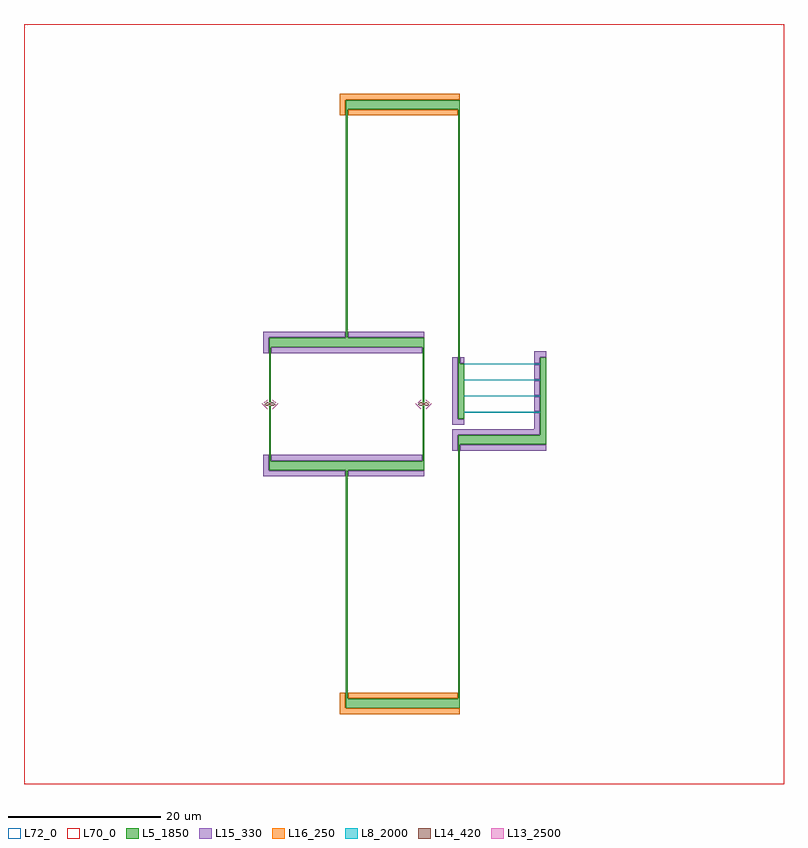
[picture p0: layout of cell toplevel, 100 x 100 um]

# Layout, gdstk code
from math import pi, radians
import gdstk
lib = gdstk.Library(unit=1e-6, precision=1e-09)
def R(c, l, rs):  # rectangles x0, y0, x1, y1
    for r in rs: c.add(gdstk.rectangle(r[:2], r[2:], *l))
def A(c, l, x, y, w, h, nx, ny, dx, dy):  # array of equal rectangles
    R(c, l, [(x+i*dx, y+j*dy, x+i*dx+w, y+j*dy+h) for i in range(nx) for j in range(ny)])
def P(c, l, *ps):  # polygons
    for p in ps: c.add(gdstk.Polygon(p, *l))
L5_1850 = (5, 1850)
L8_2000 = (8, 2000)
L13_2500 = (13, 2500)
L14_420 = (14, 420)
L15_330 = (15, 330)
L16_250 = (16, 250)
L70_0 = (70, 0)
L72_0 = (72, 0)

rectangle013 = lib.new_cell('rectangle013')
R(rectangle013, L5_1850, [(0,0,0.2,1.8)])

jj_top = lib.new_cell('JJ Top')
jj_top.add(gdstk.Reference(rectangle013, (-0.1,0.2)))

rectangle014 = lib.new_cell('rectangle014')
R(rectangle014, L5_1850, [(0,0,0.2,1.8)])

jj_bot = lib.new_cell('JJ Bot')
jj_bot.add(gdstk.Reference(rectangle014, (-0.1,-2)))

rectangle015 = lib.new_cell('rectangle015')
R(rectangle015, L5_1850, [(0,0,0.22,5.5)])

top_arm = lib.new_cell('Top Arm')
top_arm.add(gdstk.Reference(rectangle015, (-0.11,2)))

rectangle016 = lib.new_cell('rectangle016')
R(rectangle016, L5_1850, [(0,0,0.22,5.5)])

bot_arm = lib.new_cell('Bot Arm')
bot_arm.add(gdstk.Reference(rectangle016, (-0.11,-7.5)))

junction = lib.new_cell('Junction')
junction.add(gdstk.Reference(jj_top, (0,0)))
junction.add(gdstk.Reference(jj_bot, (0,0)))
junction.add(gdstk.Reference(top_arm, (0,0)))
junction.add(gdstk.Reference(bot_arm, (0,0)))

rectangle017 = lib.new_cell('rectangle017')
P(rectangle017, L13_2500, [(0.376,0.563),(0.8,0.139),(0.736,0.075),(0.312,0.499)])

rectangle018 = lib.new_cell('rectangle018')
P(rectangle018, L13_2500, [(0.376,0.663),(1.1,-0.061),(1.036,-0.125),(0.312,0.599)])

boolean019 = lib.new_cell('boolean019')
P(boolean019, L14_420, [(-0.2,-0.125),(0.2,-0.125),(0.2,-0.25),(0.52,-0.25),(0.7,-0.07),(0.7,-0.03),(0.42,0.25),(0.2,0.25),(0.2,0.125),(-0.2,0.125),(-0.2,0.25),(-0.42,0.25),(-0.7,-0.03),(-0.7,-0.07),(-0.52,-0.25),(-0.2,-0.25)])

h_undercut_with_asymmetr = lib.new_cell('H undercut with asymmetric s')
h_undercut_with_asymmetr.add(gdstk.Reference(rectangle017, (0,0)))
h_undercut_with_asymmetr.add(gdstk.Reference(rectangle018, (0,0), x_reflection=True))
h_undercut_with_asymmetr.add(gdstk.Reference(rectangle017, (0,0), rotation=pi, x_reflection=True))
h_undercut_with_asymmetr.add(gdstk.Reference(rectangle018, (0,0), rotation=pi))
h_undercut_with_asymmetr.add(gdstk.Reference(boolean019, (0,0)))

josephson_junction = lib.new_cell('Josephson Junction')
josephson_junction.add(gdstk.Reference(junction, (0,0)))
josephson_junction.add(gdstk.Reference(h_undercut_with_asymmetr, (0,0)))

rectangle022 = lib.new_cell('rectangle022')
R(rectangle022, L5_1850, [(0,0,0.2,1.8)])

jj_top021 = lib.new_cell('JJ Top021')
jj_top021.add(gdstk.Reference(rectangle022, (-0.1,0.2)))

rectangle024 = lib.new_cell('rectangle024')
R(rectangle024, L5_1850, [(0,0,0.2,1.8)])

jj_bot023 = lib.new_cell('JJ Bot023')
jj_bot023.add(gdstk.Reference(rectangle024, (-0.1,-2)))

rectangle026 = lib.new_cell('rectangle026')
R(rectangle026, L5_1850, [(0,0,0.22,5.5)])

top_arm025 = lib.new_cell('Top Arm025')
top_arm025.add(gdstk.Reference(rectangle026, (-0.11,2)))

rectangle028 = lib.new_cell('rectangle028')
R(rectangle028, L5_1850, [(0,0,0.22,5.5)])

bot_arm027 = lib.new_cell('Bot Arm027')
bot_arm027.add(gdstk.Reference(rectangle028, (-0.11,-7.5)))

junction029 = lib.new_cell('Junction029')
junction029.add(gdstk.Reference(jj_top021, (0,0)))
junction029.add(gdstk.Reference(jj_bot023, (0,0)))
junction029.add(gdstk.Reference(top_arm025, (0,0)))
junction029.add(gdstk.Reference(bot_arm027, (0,0)))

rectangle031 = lib.new_cell('rectangle031')
P(rectangle031, L13_2500, [(0.376,0.563),(0.8,0.139),(0.736,0.075),(0.312,0.499)])

rectangle032 = lib.new_cell('rectangle032')
P(rectangle032, L13_2500, [(0.376,0.663),(1.1,-0.061),(1.036,-0.125),(0.312,0.599)])

boolean033 = lib.new_cell('boolean033')
P(boolean033, L14_420, [(-0.2,-0.125),(0.2,-0.125),(0.2,-0.25),(0.52,-0.25),(0.7,-0.07),(0.7,-0.03),(0.42,0.25),(0.2,0.25),(0.2,0.125),(-0.2,0.125),(-0.2,0.25),(-0.42,0.25),(-0.7,-0.03),(-0.7,-0.07),(-0.52,-0.25),(-0.2,-0.25)])

c_h_undercut_with_asymmetr = lib.new_cell('H undercut with asymmetric s030')
c_h_undercut_with_asymmetr.add(gdstk.Reference(rectangle031, (0,0)))
c_h_undercut_with_asymmetr.add(gdstk.Reference(rectangle032, (0,0), x_reflection=True))
c_h_undercut_with_asymmetr.add(gdstk.Reference(rectangle031, (0,0), rotation=pi, x_reflection=True))
c_h_undercut_with_asymmetr.add(gdstk.Reference(rectangle032, (0,0), rotation=pi))
c_h_undercut_with_asymmetr.add(gdstk.Reference(boolean033, (0,0)))

josephson_junction020 = lib.new_cell('Josephson Junction020')
josephson_junction020.add(gdstk.Reference(junction029, (0,0)))
josephson_junction020.add(gdstk.Reference(c_h_undercut_with_asymmetr, (0,0)))

rectangle034 = lib.new_cell('rectangle034')
R(rectangle034, L5_1850, [(0,0,20.44,1.2)])

island = lib.new_cell('Island')
island.add(gdstk.Reference(rectangle034, (0,0)))

top_island = lib.new_cell('Top island')
top_island.add(gdstk.Reference(island, (-0.11,7.5)))

rectangle036 = lib.new_cell('rectangle036')
R(rectangle036, L5_1850, [(0,0,20.44,1.2)])

island035 = lib.new_cell('Island035')
island035.add(gdstk.Reference(rectangle036, (0,0)))

bot_island = lib.new_cell('Bot island')
bot_island.add(gdstk.Reference(island035, (-0.11,-8.7)))

rectangle037 = lib.new_cell('rectangle037')
R(rectangle037, L5_1850, [(0,-30.1,0.22,0)])

connector = lib.new_cell('Connector')
connector.add(gdstk.Reference(rectangle037, (0,0)))

top_connector = lib.new_cell('Top connector')
top_connector.add(gdstk.Reference(connector, (10,38.8)))

rectangle039 = lib.new_cell('rectangle039')
R(rectangle039, L5_1850, [(0,-30.1,0.22,0)])

connector038 = lib.new_cell('Connector038')
connector038.add(gdstk.Reference(rectangle039, (0,0)))

bot_connector = lib.new_cell('Bot connector')
bot_connector.add(gdstk.Reference(connector038, (10,-38.8), x_reflection=True))

boolean042 = lib.new_cell('boolean042')
R(boolean042, L15_330, [(10.28,-9.5,20.33,-8.76), (0.17,-7.44,20.05,-6.7), (0.17,6.7,20.05,7.44), (10.28,8.76,20.33,9.5)])
P(boolean042, L15_330, [(-0.17,8.76),(9.94,8.76),(9.94,9.5),(-0.91,9.5),(-0.91,6.7),(-0.17,6.7)],
  [(9.94,-8.76),(-0.17,-8.76),(-0.17,-6.7),(-0.91,-6.7),(-0.91,-9.5),(9.94,-9.5)])

liftoff_undercut041 = lib.new_cell('Liftoff undercut041')
liftoff_undercut041.add(gdstk.Reference(boolean042, (0,0)))

liftoff_undercut040 = lib.new_cell('Liftoff undercut040')
liftoff_undercut040.add(gdstk.Reference(liftoff_undercut041, (0,0)))

squid = lib.new_cell('Squid')
squid.add(gdstk.Reference(josephson_junction, (-10.11,0)))
squid.add(gdstk.Reference(josephson_junction020, (10.11,0)))
squid.add(gdstk.Reference(top_island, (-10.11,0)))
squid.add(gdstk.Reference(bot_island, (-10.11,0)))
squid.add(gdstk.Reference(top_connector, (-10.11,0)))
squid.add(gdstk.Reference(bot_connector, (-10.11,0)))
squid.add(gdstk.Reference(liftoff_undercut040, (-10.11,0)))

rectangle046 = lib.new_cell('rectangle046')
R(rectangle046, L5_1850, [(-0.22,-33.48,0,0)])

rectangle045 = lib.new_cell('rectangle045')
R(rectangle045, L5_1850, [(-15,0,0,1.2)])

connector044 = lib.new_cell('Connector044')
connector044.add(gdstk.Reference(rectangle045, (0,0)))

boolean047 = lib.new_cell('boolean047')

boolean048 = lib.new_cell('boolean048')

connector043 = lib.new_cell('Connector043')
connector043.add(gdstk.Reference(rectangle046, (14.89,38.8)))
connector043.add(gdstk.Reference(connector044, (14.89,38.8)))
connector043.add(gdstk.Reference(boolean047, (14.89,38.8)))
connector043.add(gdstk.Reference(boolean048, (0,0)))

rectangle008 = lib.new_cell('rectangle008')
R(rectangle008, L5_1850, [(0,0,0.8,6.44)])

rectangle009 = lib.new_cell('rectangle009')
R(rectangle009, L5_1850, [(0,-0.8,0.8,0)])

arm_connector = lib.new_cell('Arm connector')
arm_connector.add(gdstk.Reference(rectangle008, (-0.8,-6.33)))
arm_connector.add(gdstk.Reference(rectangle009, (-0.8,-6.33)))

boolean010 = lib.new_cell('boolean010')
P(boolean010, L5_1850, [(11.4,0.6),(0.6,0.6),(0.6,10.04),(-0.2,10.04),(-0.2,-0.6),(11.4,-0.6)])

rectangle011 = lib.new_cell('rectangle011')
R(rectangle011, L5_1850, [(-0.2,10.04,0.6,10.84)])

right_arm_connector = lib.new_cell('Right arm connector')
right_arm_connector.add(gdstk.Reference(boolean010, (10.6,-9.93), rotation=pi, x_reflection=True))
right_arm_connector.add(gdstk.Reference(rectangle011, (10.6,-9.93), rotation=pi, x_reflection=True))

arms = lib.new_cell('Arms')
arms.add(gdstk.Reference(arm_connector, (0,0)))
arms.add(gdstk.Reference(right_arm_connector, (0,0)))

rectangle = lib.new_cell('rectangle')
R(rectangle, L8_2000, [(0,0,10,0.11)])

resistive_segment = lib.new_cell('Resistive segment')
resistive_segment.add(gdstk.Reference(rectangle, (0,0)))

rectangle003 = lib.new_cell('rectangle003')
R(rectangle003, L8_2000, [(0,0,10,0.11)])

resistive_segment002 = lib.new_cell('Resistive segment002')
resistive_segment002.add(gdstk.Reference(rectangle003, (0,-2.11)))

rectangle005 = lib.new_cell('rectangle005')
R(rectangle005, L8_2000, [(0,0,10,0.11)])

resistive_segment004 = lib.new_cell('Resistive segment004')
resistive_segment004.add(gdstk.Reference(rectangle005, (0,-4.22)))

rectangle007 = lib.new_cell('rectangle007')
R(rectangle007, L8_2000, [(0,0,10,0.11)])

resistive_segment006 = lib.new_cell('Resistive segment006')
resistive_segment006.add(gdstk.Reference(rectangle007, (0,-6.33)))

resistive_segments = lib.new_cell('Resistive segments')
resistive_segments.add(gdstk.Reference(resistive_segment, (0,0)))
resistive_segments.add(gdstk.Reference(resistive_segment002, (0,0)))
resistive_segments.add(gdstk.Reference(resistive_segment004, (0,0)))
resistive_segments.add(gdstk.Reference(resistive_segment006, (0,0)))

boolean = lib.new_cell('boolean')

boolean012 = lib.new_cell('boolean012')

liftoff_undercut = lib.new_cell('Liftoff undercut')
liftoff_undercut.add(gdstk.Reference(boolean, (0,0)))
liftoff_undercut.add(gdstk.Reference(boolean012, (0,0)))

boolean049 = lib.new_cell('boolean049')
A(boolean049, L15_330, 24.67, -0.95, 0.74, 1.88, 1, 3, 0, 2.11)
R(boolean049, L15_330, [(14.95,-6.12,26.27,-5.38), (14.95,5.38,15.47,6.12)])
P(boolean049, L15_330, [(25.41,6.18),(26.27,6.18),(26.27,6.92),(24.67,6.92),(24.67,5.38),(25.41,5.38)],
  [(13.87,6.12),(13.87,-2.72),(15.47,-2.72),(15.47,-1.98),(14.61,-1.98),(14.61,6.12)],
  [(25.41,-4.06),(25.41,-1.18),(24.67,-1.18),(24.67,-3.32),(13.87,-3.32),(13.87,-6.12),(14.61,-6.12),(14.61,-4.06)])

resistor = lib.new_cell('Resistor')
resistor.add(gdstk.Reference(arms, (15.47,5.21)))
resistor.add(gdstk.Reference(resistive_segments, (15.47,5.21)))
resistor.add(gdstk.Reference(liftoff_undercut, (15.47,5.21)))
resistor.add(gdstk.Reference(boolean049, (0,0)))

boolean050 = lib.new_cell('boolean050')
R(boolean050, L16_250, [(0.17,-38.74,14.6,-38), (0.17,38,14.6,38.74)])
P(boolean050, L16_250, [(14.89,40.06),(14.89,40.8),(-0.91,40.8),(-0.91,38),(-0.17,38),(-0.17,40.06)],
  [(-0.91,-38),(-0.91,-40.8),(14.89,-40.8),(14.89,-40.06),(-0.17,-40.06),(-0.17,-38)])

rectangle052 = lib.new_cell('rectangle052')
R(rectangle052, L72_0, [(0,0,100,100)])

working_area = lib.new_cell('Working area')
working_area.add(gdstk.Reference(rectangle052, (-42.47,-50)))

rectangle051 = lib.new_cell('rectangle051')
R(rectangle051, L70_0, [(0,0,100,100)])

writefield = lib.new_cell('Writefield')
writefield.add(gdstk.Reference(rectangle051, (-42.47,-50)))

toplevel = lib.new_cell('toplevel')
toplevel.add(gdstk.Reference(squid, (0,0)))
toplevel.add(gdstk.Reference(connector043, (0,0)))
toplevel.add(gdstk.Reference(connector043, (0,0), x_reflection=True))
toplevel.add(gdstk.Reference(resistor, (0,0)))
toplevel.add(gdstk.Reference(boolean050, (0,0)))
toplevel.add(gdstk.Reference(working_area, (0,0)))
toplevel.add(gdstk.Reference(writefield, (0,0)))

lib.write_gds('toplevel.gds')
